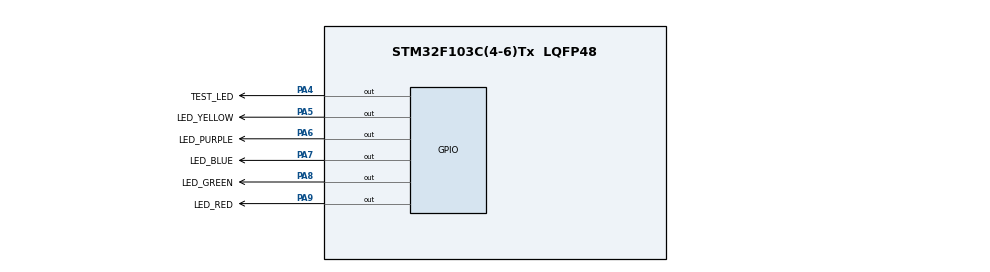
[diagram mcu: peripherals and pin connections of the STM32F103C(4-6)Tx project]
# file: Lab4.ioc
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Mcu.Family=STM32F1
Mcu.Name=STM32F103C(4-6)Tx
Mcu.Package=LQFP48
NVIC.PriorityGroup=NVIC_PRIORITYGROUP_4
NVIC.TIM2_IRQn=true\:0\:0\:false\:false\:true\:true\:true
PA4.GPIO_Label=TEST_LED
PA4.Signal=GPIO_Output
PA5.GPIO_Label=LED_YELLOW
PA5.Signal=GPIO_Output
PA6.GPIO_Label=LED_PURPLE
PA6.Signal=GPIO_Output
PA7.GPIO_Label=LED_BLUE
PA7.Signal=GPIO_Output
PA8.GPIO_Label=LED_GREEN
PA8.Signal=GPIO_Output
PA9.GPIO_Label=LED_RED
PA9.Signal=GPIO_Output
ProjectManager.HeapSize=0x200
ProjectManager.StackSize=0x400
ProjectManager.TargetToolchain=STM32CubeIDE
RCC.APB1Freq_Value=8000000
RCC.APB2Freq_Value=8000000
TIM2.Period=9
TIM2.Prescaler=7999
VP_SYS_VS_ND.Mode=No_Debug
VP_TIM2_VS_ClockSourceINT.Mode=Internal
board=custom

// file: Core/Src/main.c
/* USER CODE BEGIN Header */
/**
  ******************************************************************************
  * @file           : main.c
  * @brief          : Main program body
  ******************************************************************************
  * @attention
  *
  * <h2><center>&copy; Copyright (c) 2021 STMicroelectronics.
  * All rights reserved.</center></h2>
  *
  * This software component is licensed by ST under BSD 3-Clause license,
  * the "License"; You may not use this file except in compliance with the
  * License. You may obtain a copy of the License at:
  *                        opensource.org/licenses/BSD-3-Clause
  *
  ******************************************************************************
  */
/* USER CODE END Header */
#include "main.h"

/* USER CODE BEGIN Includes */
#include "tasks.h"
#include "scheduler.h"
/* USER CODE END Includes */

TIM_HandleTypeDef htim2;

void SystemClock_Config(void);
static void MX_GPIO_Init(void);
static void MX_TIM2_Init(void);

/* USER CODE BEGIN 0 */
int flag = 0;
/* USER CODE END 0 */

int main(void)
{

  /* MCU Configuration--------------------------------------------------------*/

  /* Reset of all peripherals, Initializes the Flash interface and the Systick. */
  HAL_Init();

  /* Configure the system clock */
  SystemClock_Config();

  /* Initialize all configured peripherals */
  MX_GPIO_Init();
  MX_TIM2_Init();
  /* USER CODE BEGIN 2 */
  HAL_TIM_Base_Start_IT(&htim2);
  /* USER CODE END 2 */

  /* Infinite loop */
  /* USER CODE BEGIN WHILE */
  //System_Initialization();
  HAL_GPIO_WritePin(GPIOA, LED_YELLOW_Pin |
		  LED_PURPLE_Pin | LED_BLUE_Pin |
		  LED_GREEN_Pin | LED_RED_Pin, SET);
  SCH_Init();
  SCH_Add_Task(blink_yellow_led,50,50);
  SCH_Add_Task(blink_purple_led,51,100);
  SCH_Add_Task(blink_blue_led,52,150);
  SCH_Add_Task(blink_green_led,53,200);
  SCH_Add_Task(blink_red_led,54,250);
  while (1)
  {
    /* USER CODE END WHILE */

    /* USER CODE BEGIN 3 */
	  if (flag)
	  {
		  SCH_Update();
		  flag = 0;
	  }
	  SCH_Dispatch_Tasks();
  }
  /* USER CODE END 3 */
}

void SystemClock_Config(void)
{
  RCC_OscInitTypeDef RCC_OscInitStruct = {0};
  RCC_ClkInitTypeDef RCC_ClkInitStruct = {0};

  /** Initializes the RCC Oscillators according to the specified parameters
  * in the RCC_OscInitTypeDef structure.
  */
  RCC_OscInitStruct.OscillatorType = RCC_OSCILLATORTYPE_HSI;
  RCC_OscInitStruct.HSIState = RCC_HSI_ON;
  RCC_OscInitStruct.HSICalibrationValue = RCC_HSICALIBRATION_DEFAULT;
  RCC_OscInitStruct.PLL.PLLState = RCC_PLL_NONE;
  if (HAL_RCC_OscConfig(&RCC_OscInitStruct) != HAL_OK)
  {
    Error_Handler();
  }
  /** Initializes the CPU, AHB and APB buses clocks
  */
  RCC_ClkInitStruct.ClockType = RCC_CLOCKTYPE_HCLK|RCC_CLOCKTYPE_SYSCLK
                              |RCC_CLOCKTYPE_PCLK1|RCC_CLOCKTYPE_PCLK2;
  RCC_ClkInitStruct.SYSCLKSource = RCC_SYSCLKSOURCE_HSI;
  RCC_ClkInitStruct.AHBCLKDivider = RCC_SYSCLK_DIV1;
  RCC_ClkInitStruct.APB1CLKDivider = RCC_HCLK_DIV1;
  RCC_ClkInitStruct.APB2CLKDivider = RCC_HCLK_DIV1;

  if (HAL_RCC_ClockConfig(&RCC_ClkInitStruct, FLASH_LATENCY_0) != HAL_OK)
  {
    Error_Handler();
  }
}

static void MX_TIM2_Init(void)
{

  TIM_ClockConfigTypeDef sClockSourceConfig = {0};
  TIM_MasterConfigTypeDef sMasterConfig = {0};

  htim2.Instance = TIM2;
  htim2.Init.Prescaler = 7999;
  htim2.Init.CounterMode = TIM_COUNTERMODE_UP;
  htim2.Init.Period = 9;
  htim2.Init.ClockDivision = TIM_CLOCKDIVISION_DIV1;
  htim2.Init.AutoReloadPreload = TIM_AUTORELOAD_PRELOAD_DISABLE;
  if (HAL_TIM_Base_Init(&htim2) != HAL_OK)
  {
    Error_Handler();
  }
  sClockSourceConfig.ClockSource = TIM_CLOCKSOURCE_INTERNAL;
  if (HAL_TIM_ConfigClockSource(&htim2, &sClockSourceConfig) != HAL_OK)
  {
    Error_Handler();
  }
  sMasterConfig.MasterOutputTrigger = TIM_TRGO_RESET;
  sMasterConfig.MasterSlaveMode = TIM_MASTERSLAVEMODE_DISABLE;
  if (HAL_TIMEx_MasterConfigSynchronization(&htim2, &sMasterConfig) != HAL_OK)
  {
    Error_Handler();
  }

}

static void MX_GPIO_Init(void)
{
  GPIO_InitTypeDef GPIO_InitStruct = {0};

  /* GPIO Ports Clock Enable */
  __HAL_RCC_GPIOA_CLK_ENABLE();

  /*Configure GPIO pin Output Level */
  HAL_GPIO_WritePin(GPIOA, TEST_LED_Pin|LED_YELLOW_Pin|LED_PURPLE_Pin|LED_BLUE_Pin
                          |LED_GREEN_Pin|LED_RED_Pin, GPIO_PIN_RESET);

  /*Configure GPIO pins : TEST_LED_Pin LED_YELLOW_Pin LED_PURPLE_Pin LED_BLUE_Pin
                           LED_GREEN_Pin LED_RED_Pin */
  GPIO_InitStruct.Pin = TEST_LED_Pin|LED_YELLOW_Pin|LED_PURPLE_Pin|LED_BLUE_Pin
                          |LED_GREEN_Pin|LED_RED_Pin;
  GPIO_InitStruct.Mode = GPIO_MODE_OUTPUT_PP;
  GPIO_InitStruct.Pull = GPIO_NOPULL;
  GPIO_InitStruct.Speed = GPIO_SPEED_FREQ_LOW;
  HAL_GPIO_Init(GPIOA, &GPIO_InitStruct);

}

/* USER CODE BEGIN 4 */
int counter = 50;
void HAL_TIM_PeriodElapsedCallback(TIM_HandleTypeDef *htim)
{
	//SCH_Update();
	flag = 1;
	counter--;
	if (counter <= 0)
	{
		counter = 50;
		HAL_GPIO_TogglePin(TEST_LED_GPIO_Port, TEST_LED_Pin);
	}
}
/* USER CODE END 4 */

void Error_Handler(void)
{
  __disable_irq();
  while (1)
  {
  }
}

/************************ (C) COPYRIGHT STMicroelectronics *****END OF FILE****/
